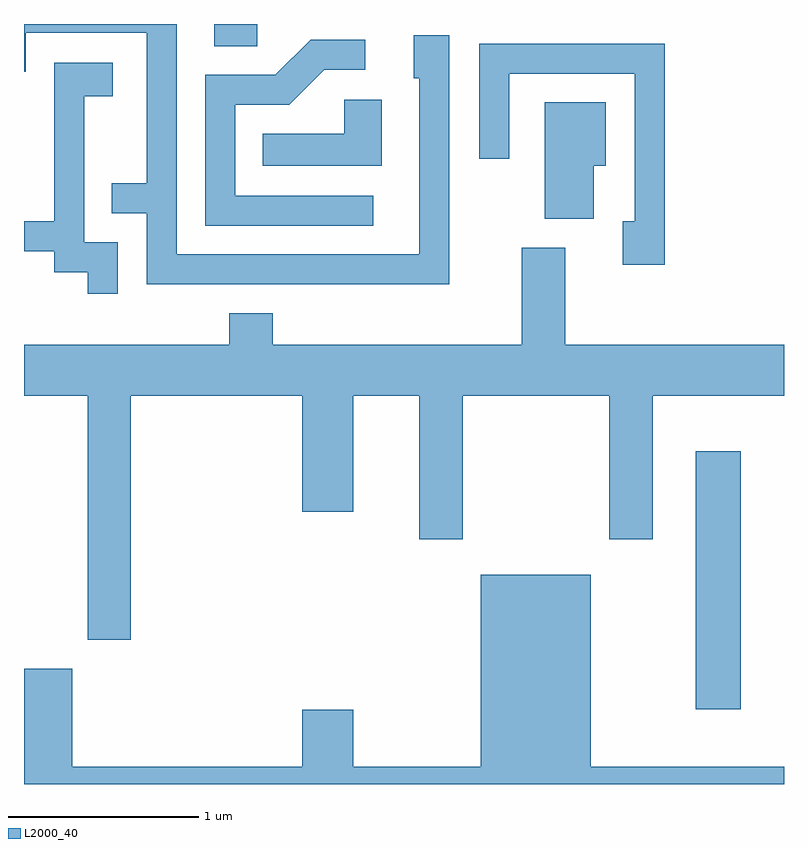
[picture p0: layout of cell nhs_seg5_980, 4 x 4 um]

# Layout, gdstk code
import gdstk
lib = gdstk.Library(unit=1e-6, precision=1e-09)
def R(c, l, rs):  # rectangles x0, y0, x1, y1
    for r in rs: c.add(gdstk.rectangle(r[:2], r[2:], *l))
def P(c, l, *ps):  # polygons
    for p in ps: c.add(gdstk.Polygon(p, *l))
L2000_40 = (2000, 40)

nhs_seg5_980 = lib.new_cell('nhs_seg5_980')
R(nhs_seg5_980, L2000_40, [(217.146,1468.466,217.384,1469.824), (214.611,1471.956,214.839,1472.072)])
P(nhs_seg5_980, L2000_40, [(215.849,1472.014),(215.661,1472.014),(215.661,1471.786),(215.691,1471.786),(215.691,1470.859),(214.414,1470.859),(214.414,1472.072),(213.611,1472.072),(213.611,1471.821),(213.619,1471.821),(213.619,1472.026),(214.256,1472.026),(214.256,1471.234),(214.073,1471.234),(214.073,1471.076),(214.256,1471.076),(214.256,1470.701),(215.849,1470.701)],
  [(215.448,1471.169),(214.724,1471.169),(214.724,1471.646),(215.007,1471.646),(215.192,1471.831),(215.408,1471.831),(215.408,1471.989),(215.119,1471.989),(214.934,1471.804),(214.566,1471.804),(214.566,1471.011),(215.448,1471.011)],
  [(216.984,1471.969),(216.006,1471.969),(216.006,1471.363),(216.164,1471.363),(216.164,1471.811),(216.826,1471.811),(216.826,1471.034),(216.761,1471.034),(216.761,1470.806),(216.984,1470.806)],
  [(214.104,1470.924),(213.929,1470.924),(213.929,1471.691),(214.079,1471.691),(214.079,1471.869),(213.771,1471.869),(213.771,1471.034),(213.611,1471.034),(213.611,1470.876),(213.771,1470.876),(213.771,1470.766),(213.946,1470.766),(213.946,1470.653),(214.104,1470.653)],
  [(215.494,1471.674),(215.296,1471.674),(215.296,1471.494),(214.868,1471.494),(214.868,1471.326),(215.494,1471.326)],
  [(216.609,1471.326),(216.674,1471.326),(216.674,1471.659),(216.351,1471.659),(216.351,1471.046),(216.609,1471.046)],
  [(214.174,1470.116),(215.076,1470.116),(215.076,1469.506),(215.344,1469.506),(215.344,1470.116),(215.691,1470.116),(215.691,1469.361),(215.919,1469.361),(215.919,1470.116),(216.691,1470.116),(216.691,1469.361),(216.919,1469.361),(216.919,1470.116),(217.611,1470.116),(217.611,1470.384),(216.459,1470.384),(216.459,1470.894),(216.231,1470.894),(216.231,1470.384),(214.919,1470.384),(214.919,1470.549),(214.691,1470.549),(214.691,1470.384),(213.611,1470.384),(213.611,1470.116),(213.946,1470.116),(213.946,1468.831),(214.174,1468.831)],
  [(217.611,1468.164),(216.594,1468.164),(216.594,1469.174),(216.016,1469.174),(216.016,1468.164),(215.344,1468.164),(215.344,1468.464),(215.076,1468.464),(215.076,1468.164),(213.864,1468.164),(213.864,1468.679),(213.611,1468.679),(213.611,1468.072),(217.611,1468.072)])

lib.write_gds('nhs_seg5_980.gds')
